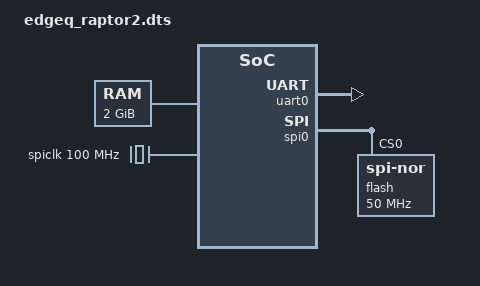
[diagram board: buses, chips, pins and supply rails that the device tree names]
/dts-v1/;

/ {
	interrupt-parent = <0x8001>;
	#size-cells = <0x2>;
	#address-cells = <0x2>;
	compatible = "linux,dummy-virt";

	memory@400000000 {
		reg = <0x00000004 0x00000000 0x00000000 0x80000000>;
		device_type = "memory";
	};

	uart0: serial@70400000 {
		clock-names = "uartclk", "apb_pclk";
		reg = <0x0 0x70400000 0x0 0x1000>;
		compatible = "arm,pl011", "arm,primecell";
	};


/* first range is GICD and second is GICR
	gic0: interrupt-controller@8010,00000000 {
		compatible = "arm,gic-v3";
		#interrupt-cells = <3>;
		interrupt-controller;
		reg = <0x8010 0x00000000 0x0 0x010000>,
		      <0x8010 0x80000000 0x0 0x600000>;
		interrupts = <1 9 0xf04>;
	};
*/

	cpus {
		#size-cells = <0x0>;
		#address-cells = <0x1>;

		cpu@0 {
			reg = <0x0>;
			compatible = "arm,armv8";
			device_type = "cpu";
			enable-method = "psci";
		};

		cpu@1 {
			reg = <0x1>;
			compatible = "arm,armv8";
			device_type = "cpu";
			enable-method = "psci";
		};
	};

	psci {
		compatible = "arm,psci-1.0", "arm,psci-0.2";
		method = "smc";
	};

	chosen {
		stdout-path = &uart0;
	};

	spiclk: virt_100mhz {
		#clock-cells = <0>;
		compatible = "fixed-clock";
		clock-frequency = <100000000>;
	};

	spi0: spi@004d0000 {
		compatible = "andestech,atcspi200";
		reg = <0x0 0x004d0000 0x0 0x1000>;
		num-cs = <1>;
		interrupts = <0 12 4>;
		clocks = <&spiclk>;

		flash@0 {
			compatible = "jedec,spi-nor";
			spi-max-frequency = <50000000>;
			reg = <0>;
		};
	};

	spi1: spi@00420000 {
		status = "disabled";
		compatible = "andestech,atcspi200";
		reg = <0x0 0x00420000 0x0 0x1000>;
		num-cs = <1>;
		interrupts = <0 11 4>;
		clocks = <&spiclk>;
	};

	spi2: spi@00430000 {
		status = "disabled";
		compatible = "andestech,atcspi200";
		reg = <0x0 0x00430000 0x0 0x1000>;
		num-cs = <1>;
		interrupts = <0 10 4>;
		clocks = <&spiclk>;
	};
};
